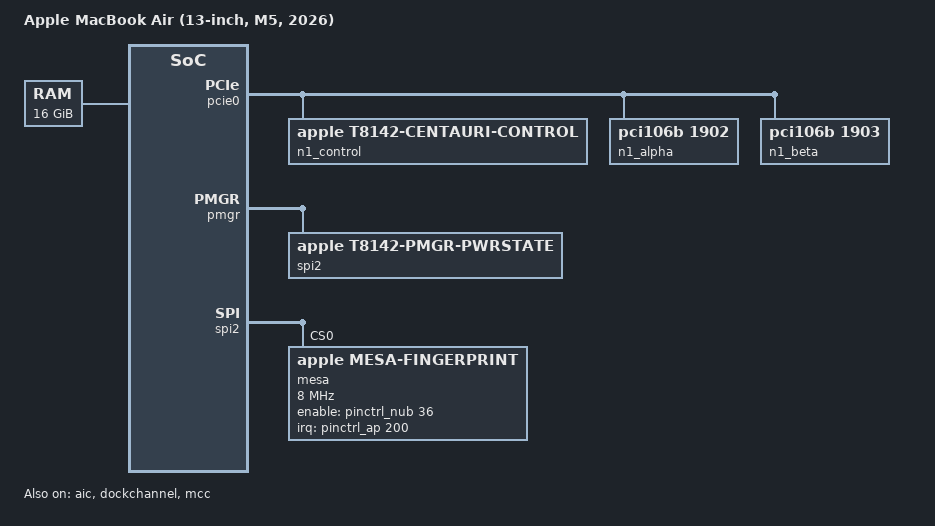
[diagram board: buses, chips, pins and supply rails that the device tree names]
// SPDX-License-Identifier: GPL-2.0+ OR MIT
/*
 * Apple MacBook Air (13-inch, M5, 2026), J813.
 *
 * Initial RAM boot resources measured from the J813 Apple Device Tree.
 * The loader supplies usable memory, CPU release addresses and framebuffer
 * geometry. Peripheral power management is left with the boot firmware.
 */
/dts-v1/;

#include "t8142.dtsi"
#include <dt-bindings/thermal/thermal.h>

/ {
	compatible = "apple,j813", "apple,t8142", "apple,arm-platform";
	model = "Apple MacBook Air (13-inch, M5, 2026)";
	chassis-type = "laptop";

	aliases {
		serial0 = &dockchannel;
		serial1 = &serial0;
		/* The name loaders before aurora-silicon/aura#165 look up. */
		disp0_piodma = &disp0_piodma;
	};

	chosen {
		#address-cells = <2>;
		#size-cells = <2>;
		ranges;

		stdout-path = "serial0:1500000n8";

		framebuffer0: framebuffer@0 {
			compatible = "apple,simple-framebuffer", "simple-framebuffer";
			reg = <0 0 0 0>; /* Filled by the loader. */
			status = "disabled";
		};
	};

	memory@10000000000 {
		reg = <0x100 0 0x4 0>; /* Filled by the loader. */
	};
};

&cpu0 {
	operating-points-v2 = <&ecluster_opp>;
	performance-domains = <&cpufreq_e>;
	status = "okay";
};

&cpu1 {
	operating-points-v2 = <&ecluster_opp>;
	performance-domains = <&cpufreq_e>;
	status = "okay";
};

&cpu2 {
	operating-points-v2 = <&ecluster_opp>;
	performance-domains = <&cpufreq_e>;
	status = "okay";
};

&cpu3 {
	operating-points-v2 = <&ecluster_opp>;
	performance-domains = <&cpufreq_e>;
	status = "okay";
};

&cpu4 {
	operating-points-v2 = <&ecluster_opp>;
	performance-domains = <&cpufreq_e>;
	status = "okay";
};

&cpu5 {
	operating-points-v2 = <&ecluster_opp>;
	performance-domains = <&cpufreq_e>;
	status = "okay";
};

&cpu6 {
	operating-points-v2 = <&pcluster_opp>;
	performance-domains = <&cpufreq_p>;
	status = "okay";
};

&cpu7 {
	operating-points-v2 = <&pcluster_opp>;
	performance-domains = <&cpufreq_p>;
	status = "okay";
};

&cpu8 {
	operating-points-v2 = <&pcluster_opp>;
	performance-domains = <&cpufreq_p>;
	status = "okay";
};

&cpu9 {
	operating-points-v2 = <&pcluster_opp>;
	performance-domains = <&cpufreq_p>;
	status = "okay";
};

&{/timer} {
	status = "okay";
};

&aic {
	status = "okay";
};

&dockchannel {
	status = "okay";
};

#include "t8142-j813-display.dtsi"
#include "t8142-j813-gpu.dtsi"
#include "t8142-j813-peripherals.dtsi"
#include "t8142-j813-j815.dtsi"
#include "t8142-j813-usb.dtsi"
#include "t8142-j813-avd.dtsi"
#include "t8142-j813-isp.dtsi"
#include "t8142-j813-n1.dtsi"
#include "t8142-j813-audio.dtsi"
#include "t8142-hwmon.dtsi"

/*
 * N1 functions behind apcie port 0 (0000:00:00.0 -> 01:00.{0,1,2}), so the
 * loader has somewhere to put the factory addresses: it copies ADT /chosen
 * mac-address-wifi0 and mac-address-bluetooth0 into the wifi0/bluetooth0
 * alias targets. Same nodes as t8142-j815.dts (same N1, same PCI IDs).
 */
/ {
	aliases {
		wifi0 = &n1_alpha;
		bluetooth0 = &n1_beta;
	};
};

&pcie0 {
	n1_port: pci@0,0 {
		device_type = "pci";
		reg = <0x0 0x0 0x0 0x0 0x0>;
		bus-range = <1 1>;
		#address-cells = <3>;
		#size-cells = <2>;
		ranges;
		/*
		 * The N1's warm reset: the ADT's pci-bridge0 function-warm_reset (the SMC, key
		 * 'bpli', the same key and argument as on the T6050 boards) and the T6050 writes.
		 * The N1 driver restarts a stopped firmware with it.
		 */
		apple,function-warm-reset = <&smc 0x62706c69 0x1000000>;
		apple,warm-reset-writes = <0x00010001 17000>, <0x00010001 20000>;

		n1_control: control@0,0 {
			compatible = "apple,t8142-centauri-control", "pci106b,1900";
			reg = <0x10000 0x0 0x0 0x0 0x0>;
		};

		n1_alpha: wifi@0,1 {
			compatible = "pci106b,1902";
			reg = <0x10100 0x0 0x0 0x0 0x0>;
			/* Filled by the loader */
			local-mac-address = [00 00 00 00 00 00];
		};

		n1_beta: bluetooth@0,2 {
			compatible = "pci106b,1903";
			reg = <0x10200 0x0 0x0 0x0 0x0>;
			/* Filled by the loader */
			local-bd-address = [00 00 00 00 00 00];
		};
	};
};

&mtp_hid {
	multi-touch {
		firmware-name = "apple/tpmtfw-j813.bin";
		/* Palm classes flicker onto fingers for single reports. */
		apple,palm-debounce;
		/* The same touch states and path IDs as the J815's pad. */
		apple,touch-states;
	};
};

/* Unexposed chassis port instances remain described and disabled. */

/*
 * aura (mcc_init_m5) turns the system level cache on; the driver confirms it
 * and flushes on shutdown.
 */
&mcc {
	status = "okay";
};

#include "t8142-j813-sep.dtsi"
#include "t8142-j813-j815-sleep.dtsi"

#include "t8142-j813-dcpext.dtsi"

&{/reserved-memory} {
	/*
	 * Both roles' __TEXT, contiguous (ADT gfx-asc and gfx1-asc segment-ranges),
	 * which the driver identifies before it starts the firmware. Fixed at the
	 * macOS 27.0 address like fw-data, until the bootloader fills it in; under
	 * 27.2 (26B123) iBoot loads it at 0x100_00e5_4000 and the DATA at
	 * 0x100_0245_8000.
	 */
	gpu_fw_text: fw-text {
		reg = <0x100 0x00e44000 0x0 0x9c000>;
		no-map;
	};
};

&gpu {
	memory-region = <&uat_ttbs>, <&uat_pagetables>, <&uat_handoff>,
			<&uat_l2_pagetables>, <&gfx_data>, <&gfx1_data>,
			<&gpu_fw_data>, <&gpu_fw_text>;
	memory-region-names = "ttbs", "pagetables", "handoff",
			      "shared-l2", "gfx-data", "gfx1-data", "fw-data",
			      "fw-text";
};

/* Touch ID uses SPI2, with power on NUB GPIO 36 and data ready on AP GPIO 200. */
&pmgr {
	ps_spi2: power-controller@440 {
		compatible = "apple,t8142-pmgr-pwrstate", "apple,t8103-pmgr-pwrstate";
		reg = <0x440 4>;
		#power-domain-cells = <0>;
		#reset-cells = <0>;
		power-domains = <&ps_spi_p>;
		label = "spi2";
	};
};

&{/soc} {
	spi2: spi@3a5108000 {
		compatible = "apple,t8142-spi", "apple,t8103-spi";
		reg = <0x3 0xa5108000 0x0 0x4000>;
		interrupt-parent = <&aic>;
		interrupts = <AIC_IRQ 1241 IRQ_TYPE_LEVEL_HIGH>;
		clocks = <&clkref>;
		power-domains = <&ps_spi2>;
		#address-cells = <1>;
		#size-cells = <0>;
		status = "okay";

		mesa: fingerprint@0 {
			compatible = "apple,mesa-fingerprint";
			reg = <0>;
			spi-max-frequency = <8000000>;
			spi-cpol;
			spi-cs-setup-delay-ns = <20>;
			spi-cs-hold-delay-ns = <20>;
			enable-gpios = <&pinctrl_nub 36 GPIO_ACTIVE_HIGH>;
			interrupt-parent = <&pinctrl_ap>;
			interrupts = <200 IRQ_TYPE_EDGE_RISING>;
			/* Per-device files, built from the Mac's own factory records. */
			firmware-name = "apple/mesacal-j813.bin", "apple/msrk-j813.bin";
			status = "okay";
		};
	};
};

/* Expose the sensor's two pins next to the ones sound uses. */
&pinctrl_ap {
	gpio-reserved-ranges = <0 100>, <101 49>, <152 48>, <201 23>;
};

&pinctrl_nub {
	gpio-reserved-ranges = <0 18>, <19 17>, <37 3>;
};

/* The port controllers follow the sleep's command rules (tipd: woken first, read at intervals) */
&hpm0 {
	apple,sleep-ssps-rules;
};

&hpm1 {
	apple,sleep-ssps-rules;
};

&smc_hwmon {
	#thermal-sensor-cells = <1>;
};

/ {
	/*
	 * Fanless: the CPUs are the only cooling devices, and both clusters
	 * share one die and one passive heat spreader. The PMP's fast
	 * die-temperature loop (apple,fast-die-effort) is the primary control:
	 * on J813, an all-core load holds the hottest SMC die sensor (Tp04)
	 * at 102.3-102.5 C while leaving the E cluster at 2.96 GHz and tapering
	 * the P cluster from 4.46 to 3.88-4.02 GHz as the chassis warms
	 * (13.2 W combined CPU rail power after 330 s).
	 *
	 * These per-sensor zones sit behind the PMP as a slow outer backstop
	 * and critical shutdown guard. The control (110 C) and critical
	 * (125 C, after three samples) trips come from the J813 ADT's PMP
	 * temp-sensor table, which gives every CPU die sensor a 110 C target
	 * and a 125 C maximum (sochot). A 95 C switch-on (15 C gap, 13 W
	 * measured sustainable power, 20 s integral time constant) keeps the
	 * power budget above the full-speed energy-model request (24.1 W) up to
	 * 103.6 C so cooling devices stay at state 0 throughout cold-start ramp
	 * and steady state under normal PMP operation (Tp04 <= 102.5 C), while
	 * regulating smoothly if PMP does not hold the die (k_po 887, k_pu 1774,
	 * k_i 88; a 4-7 C gap oscillated). The E cluster is weighted 3:1 over P
	 * and capped at state 5 (1152 MHz, more efficient per MHz than 300 MHz and
	 * above idle wake latency).
	 *
	 * Sensor indices count temperature-* children across hwmon-common
	 * (0: TH0x), hwmon-laptop (1-3: TB0T, TCHP, TW0P) and t8142-hwmon
	 * (4-7: Te04..Te0R, 8-21: Tp00..Tp1E).
	 */
	thermal-zones {
		cpu-e0-thermal {
			polling-delay-passive = <1000>;
			polling-delay = <1000>;
			integral-time-constant-ms = <20000>;
			critical-samples = <3>;
			thermal-sensors = <&smc_hwmon 4>;	/* Te04 */
			sustainable-power = <13000>;

			trips {
				cpu_e0_switch_on: trip-switch-on {
					temperature = <95000>;
					hysteresis = <2000>;
					type = "passive";
				};

				cpu_e0_passive: trip-passive {
					temperature = <110000>;
					hysteresis = <2000>;
					type = "passive";
				};

				trip-critical {
					temperature = <125000>;
					hysteresis = <0>;
					type = "critical";
				};
			};

			cooling-maps {
				map0 {
					trip = <&cpu_e0_passive>;
					cooling-device =
						<&cpu6 THERMAL_NO_LIMIT THERMAL_NO_LIMIT>,
						<&cpu7 THERMAL_NO_LIMIT THERMAL_NO_LIMIT>,
						<&cpu8 THERMAL_NO_LIMIT THERMAL_NO_LIMIT>,
						<&cpu9 THERMAL_NO_LIMIT THERMAL_NO_LIMIT>;
					contribution = <1024>;
				};

				map1 {
					trip = <&cpu_e0_passive>;
					cooling-device =
						<&cpu0 THERMAL_NO_LIMIT 5>,
						<&cpu1 THERMAL_NO_LIMIT 5>,
						<&cpu2 THERMAL_NO_LIMIT 5>,
						<&cpu3 THERMAL_NO_LIMIT 5>,
						<&cpu4 THERMAL_NO_LIMIT 5>,
						<&cpu5 THERMAL_NO_LIMIT 5>;
					contribution = <3072>;
				};
			};
		};

		cpu-e1-thermal {
			polling-delay-passive = <1000>;
			polling-delay = <1000>;
			integral-time-constant-ms = <20000>;
			critical-samples = <3>;
			thermal-sensors = <&smc_hwmon 5>;	/* Te08 */
			sustainable-power = <13000>;

			trips {
				cpu_e1_switch_on: trip-switch-on {
					temperature = <95000>;
					hysteresis = <2000>;
					type = "passive";
				};

				cpu_e1_passive: trip-passive {
					temperature = <110000>;
					hysteresis = <2000>;
					type = "passive";
				};

				trip-critical {
					temperature = <125000>;
					hysteresis = <0>;
					type = "critical";
				};
			};

			cooling-maps {
				map0 {
					trip = <&cpu_e1_passive>;
					cooling-device =
						<&cpu6 THERMAL_NO_LIMIT THERMAL_NO_LIMIT>,
						<&cpu7 THERMAL_NO_LIMIT THERMAL_NO_LIMIT>,
						<&cpu8 THERMAL_NO_LIMIT THERMAL_NO_LIMIT>,
						<&cpu9 THERMAL_NO_LIMIT THERMAL_NO_LIMIT>;
					contribution = <1024>;
				};

				map1 {
					trip = <&cpu_e1_passive>;
					cooling-device =
						<&cpu0 THERMAL_NO_LIMIT 5>,
						<&cpu1 THERMAL_NO_LIMIT 5>,
						<&cpu2 THERMAL_NO_LIMIT 5>,
						<&cpu3 THERMAL_NO_LIMIT 5>,
						<&cpu4 THERMAL_NO_LIMIT 5>,
						<&cpu5 THERMAL_NO_LIMIT 5>;
					contribution = <3072>;
				};
			};
		};

		cpu-e2-thermal {
			polling-delay-passive = <1000>;
			polling-delay = <1000>;
			integral-time-constant-ms = <20000>;
			critical-samples = <3>;
			thermal-sensors = <&smc_hwmon 6>;	/* Te0C */
			sustainable-power = <13000>;

			trips {
				cpu_e2_switch_on: trip-switch-on {
					temperature = <95000>;
					hysteresis = <2000>;
					type = "passive";
				};

				cpu_e2_passive: trip-passive {
					temperature = <110000>;
					hysteresis = <2000>;
					type = "passive";
				};

				trip-critical {
					temperature = <125000>;
					hysteresis = <0>;
					type = "critical";
				};
			};

			cooling-maps {
				map0 {
					trip = <&cpu_e2_passive>;
					cooling-device =
						<&cpu6 THERMAL_NO_LIMIT THERMAL_NO_LIMIT>,
						<&cpu7 THERMAL_NO_LIMIT THERMAL_NO_LIMIT>,
						<&cpu8 THERMAL_NO_LIMIT THERMAL_NO_LIMIT>,
						<&cpu9 THERMAL_NO_LIMIT THERMAL_NO_LIMIT>;
					contribution = <1024>;
				};

				map1 {
					trip = <&cpu_e2_passive>;
					cooling-device =
						<&cpu0 THERMAL_NO_LIMIT 5>,
						<&cpu1 THERMAL_NO_LIMIT 5>,
						<&cpu2 THERMAL_NO_LIMIT 5>,
						<&cpu3 THERMAL_NO_LIMIT 5>,
						<&cpu4 THERMAL_NO_LIMIT 5>,
						<&cpu5 THERMAL_NO_LIMIT 5>;
					contribution = <3072>;
				};
			};
		};

		cpu-e3-thermal {
			polling-delay-passive = <1000>;
			polling-delay = <1000>;
			integral-time-constant-ms = <20000>;
			critical-samples = <3>;
			thermal-sensors = <&smc_hwmon 7>;	/* Te0R */
			sustainable-power = <13000>;

			trips {
				cpu_e3_switch_on: trip-switch-on {
					temperature = <95000>;
					hysteresis = <2000>;
					type = "passive";
				};

				cpu_e3_passive: trip-passive {
					temperature = <110000>;
					hysteresis = <2000>;
					type = "passive";
				};

				trip-critical {
					temperature = <125000>;
					hysteresis = <0>;
					type = "critical";
				};
			};

			cooling-maps {
				map0 {
					trip = <&cpu_e3_passive>;
					cooling-device =
						<&cpu6 THERMAL_NO_LIMIT THERMAL_NO_LIMIT>,
						<&cpu7 THERMAL_NO_LIMIT THERMAL_NO_LIMIT>,
						<&cpu8 THERMAL_NO_LIMIT THERMAL_NO_LIMIT>,
						<&cpu9 THERMAL_NO_LIMIT THERMAL_NO_LIMIT>;
					contribution = <1024>;
				};

				map1 {
					trip = <&cpu_e3_passive>;
					cooling-device =
						<&cpu0 THERMAL_NO_LIMIT 5>,
						<&cpu1 THERMAL_NO_LIMIT 5>,
						<&cpu2 THERMAL_NO_LIMIT 5>,
						<&cpu3 THERMAL_NO_LIMIT 5>,
						<&cpu4 THERMAL_NO_LIMIT 5>,
						<&cpu5 THERMAL_NO_LIMIT 5>;
					contribution = <3072>;
				};
			};
		};

		cpu-p0-thermal {
			polling-delay-passive = <1000>;
			polling-delay = <1000>;
			integral-time-constant-ms = <20000>;
			critical-samples = <3>;
			thermal-sensors = <&smc_hwmon 8>;	/* Tp00 */
			sustainable-power = <13000>;

			trips {
				cpu_p0_switch_on: trip-switch-on {
					temperature = <95000>;
					hysteresis = <2000>;
					type = "passive";
				};

				cpu_p0_passive: trip-passive {
					temperature = <110000>;
					hysteresis = <2000>;
					type = "passive";
				};

				trip-critical {
					temperature = <125000>;
					hysteresis = <0>;
					type = "critical";
				};
			};

			cooling-maps {
				map0 {
					trip = <&cpu_p0_passive>;
					cooling-device =
						<&cpu6 THERMAL_NO_LIMIT THERMAL_NO_LIMIT>,
						<&cpu7 THERMAL_NO_LIMIT THERMAL_NO_LIMIT>,
						<&cpu8 THERMAL_NO_LIMIT THERMAL_NO_LIMIT>,
						<&cpu9 THERMAL_NO_LIMIT THERMAL_NO_LIMIT>;
					contribution = <1024>;
				};

				map1 {
					trip = <&cpu_p0_passive>;
					cooling-device =
						<&cpu0 THERMAL_NO_LIMIT 5>,
						<&cpu1 THERMAL_NO_LIMIT 5>,
						<&cpu2 THERMAL_NO_LIMIT 5>,
						<&cpu3 THERMAL_NO_LIMIT 5>,
						<&cpu4 THERMAL_NO_LIMIT 5>,
						<&cpu5 THERMAL_NO_LIMIT 5>;
					contribution = <3072>;
				};
			};
		};

		cpu-p1-thermal {
			polling-delay-passive = <1000>;
			polling-delay = <1000>;
			integral-time-constant-ms = <20000>;
			critical-samples = <3>;
			thermal-sensors = <&smc_hwmon 9>;	/* Tp04 */
			sustainable-power = <13000>;

			trips {
				cpu_p1_switch_on: trip-switch-on {
					temperature = <95000>;
					hysteresis = <2000>;
					type = "passive";
				};

				cpu_p1_passive: trip-passive {
					temperature = <110000>;
					hysteresis = <2000>;
					type = "passive";
				};

				trip-critical {
					temperature = <125000>;
					hysteresis = <0>;
					type = "critical";
				};
			};

			cooling-maps {
				map0 {
					trip = <&cpu_p1_passive>;
					cooling-device =
						<&cpu6 THERMAL_NO_LIMIT THERMAL_NO_LIMIT>,
						<&cpu7 THERMAL_NO_LIMIT THERMAL_NO_LIMIT>,
						<&cpu8 THERMAL_NO_LIMIT THERMAL_NO_LIMIT>,
						<&cpu9 THERMAL_NO_LIMIT THERMAL_NO_LIMIT>;
					contribution = <1024>;
				};

				map1 {
					trip = <&cpu_p1_passive>;
					cooling-device =
						<&cpu0 THERMAL_NO_LIMIT 5>,
						<&cpu1 THERMAL_NO_LIMIT 5>,
						<&cpu2 THERMAL_NO_LIMIT 5>,
						<&cpu3 THERMAL_NO_LIMIT 5>,
						<&cpu4 THERMAL_NO_LIMIT 5>,
						<&cpu5 THERMAL_NO_LIMIT 5>;
					contribution = <3072>;
				};
			};
		};

		cpu-p2-thermal {
			polling-delay-passive = <1000>;
			polling-delay = <1000>;
			integral-time-constant-ms = <20000>;
			critical-samples = <3>;
			thermal-sensors = <&smc_hwmon 10>;	/* Tp0C */
			sustainable-power = <13000>;

			trips {
				cpu_p2_switch_on: trip-switch-on {
					temperature = <95000>;
					hysteresis = <2000>;
					type = "passive";
				};

				cpu_p2_passive: trip-passive {
					temperature = <110000>;
					hysteresis = <2000>;
					type = "passive";
				};

				trip-critical {
					temperature = <125000>;
					hysteresis = <0>;
					type = "critical";
				};
			};

			cooling-maps {
				map0 {
					trip = <&cpu_p2_passive>;
					cooling-device =
						<&cpu6 THERMAL_NO_LIMIT THERMAL_NO_LIMIT>,
						<&cpu7 THERMAL_NO_LIMIT THERMAL_NO_LIMIT>,
						<&cpu8 THERMAL_NO_LIMIT THERMAL_NO_LIMIT>,
						<&cpu9 THERMAL_NO_LIMIT THERMAL_NO_LIMIT>;
					contribution = <1024>;
				};

				map1 {
					trip = <&cpu_p2_passive>;
					cooling-device =
						<&cpu0 THERMAL_NO_LIMIT 5>,
						<&cpu1 THERMAL_NO_LIMIT 5>,
						<&cpu2 THERMAL_NO_LIMIT 5>,
						<&cpu3 THERMAL_NO_LIMIT 5>,
						<&cpu4 THERMAL_NO_LIMIT 5>,
						<&cpu5 THERMAL_NO_LIMIT 5>;
					contribution = <3072>;
				};
			};
		};

		cpu-p3-thermal {
			polling-delay-passive = <1000>;
			polling-delay = <1000>;
			integral-time-constant-ms = <20000>;
			critical-samples = <3>;
			thermal-sensors = <&smc_hwmon 11>;	/* Tp0G */
			sustainable-power = <13000>;

			trips {
				cpu_p3_switch_on: trip-switch-on {
					temperature = <95000>;
					hysteresis = <2000>;
					type = "passive";
				};

				cpu_p3_passive: trip-passive {
					temperature = <110000>;
					hysteresis = <2000>;
					type = "passive";
				};

				trip-critical {
					temperature = <125000>;
					hysteresis = <0>;
					type = "critical";
				};
			};

			cooling-maps {
				map0 {
					trip = <&cpu_p3_passive>;
					cooling-device =
						<&cpu6 THERMAL_NO_LIMIT THERMAL_NO_LIMIT>,
						<&cpu7 THERMAL_NO_LIMIT THERMAL_NO_LIMIT>,
						<&cpu8 THERMAL_NO_LIMIT THERMAL_NO_LIMIT>,
						<&cpu9 THERMAL_NO_LIMIT THERMAL_NO_LIMIT>;
					contribution = <1024>;
				};

				map1 {
					trip = <&cpu_p3_passive>;
					cooling-device =
						<&cpu0 THERMAL_NO_LIMIT 5>,
						<&cpu1 THERMAL_NO_LIMIT 5>,
						<&cpu2 THERMAL_NO_LIMIT 5>,
						<&cpu3 THERMAL_NO_LIMIT 5>,
						<&cpu4 THERMAL_NO_LIMIT 5>,
						<&cpu5 THERMAL_NO_LIMIT 5>;
					contribution = <3072>;
				};
			};
		};

		cpu-p4-thermal {
			polling-delay-passive = <1000>;
			polling-delay = <1000>;
			integral-time-constant-ms = <20000>;
			critical-samples = <3>;
			thermal-sensors = <&smc_hwmon 12>;	/* Tp0O */
			sustainable-power = <13000>;

			trips {
				cpu_p4_switch_on: trip-switch-on {
					temperature = <95000>;
					hysteresis = <2000>;
					type = "passive";
				};

				cpu_p4_passive: trip-passive {
					temperature = <110000>;
					hysteresis = <2000>;
					type = "passive";
				};

				trip-critical {
					temperature = <125000>;
					hysteresis = <0>;
					type = "critical";
				};
			};

			cooling-maps {
				map0 {
					trip = <&cpu_p4_passive>;
					cooling-device =
						<&cpu6 THERMAL_NO_LIMIT THERMAL_NO_LIMIT>,
						<&cpu7 THERMAL_NO_LIMIT THERMAL_NO_LIMIT>,
						<&cpu8 THERMAL_NO_LIMIT THERMAL_NO_LIMIT>,
						<&cpu9 THERMAL_NO_LIMIT THERMAL_NO_LIMIT>;
					contribution = <1024>;
				};

				map1 {
					trip = <&cpu_p4_passive>;
					cooling-device =
						<&cpu0 THERMAL_NO_LIMIT 5>,
						<&cpu1 THERMAL_NO_LIMIT 5>,
						<&cpu2 THERMAL_NO_LIMIT 5>,
						<&cpu3 THERMAL_NO_LIMIT 5>,
						<&cpu4 THERMAL_NO_LIMIT 5>,
						<&cpu5 THERMAL_NO_LIMIT 5>;
					contribution = <3072>;
				};
			};
		};

		cpu-p5-thermal {
			polling-delay-passive = <1000>;
			polling-delay = <1000>;
			integral-time-constant-ms = <20000>;
			critical-samples = <3>;
			thermal-sensors = <&smc_hwmon 13>;	/* Tp0R */
			sustainable-power = <13000>;

			trips {
				cpu_p5_switch_on: trip-switch-on {
					temperature = <95000>;
					hysteresis = <2000>;
					type = "passive";
				};

				cpu_p5_passive: trip-passive {
					temperature = <110000>;
					hysteresis = <2000>;
					type = "passive";
				};

				trip-critical {
					temperature = <125000>;
					hysteresis = <0>;
					type = "critical";
				};
			};

			cooling-maps {
				map0 {
					trip = <&cpu_p5_passive>;
					cooling-device =
						<&cpu6 THERMAL_NO_LIMIT THERMAL_NO_LIMIT>,
						<&cpu7 THERMAL_NO_LIMIT THERMAL_NO_LIMIT>,
						<&cpu8 THERMAL_NO_LIMIT THERMAL_NO_LIMIT>,
						<&cpu9 THERMAL_NO_LIMIT THERMAL_NO_LIMIT>;
					contribution = <1024>;
				};

				map1 {
					trip = <&cpu_p5_passive>;
					cooling-device =
						<&cpu0 THERMAL_NO_LIMIT 5>,
						<&cpu1 THERMAL_NO_LIMIT 5>,
						<&cpu2 THERMAL_NO_LIMIT 5>,
						<&cpu3 THERMAL_NO_LIMIT 5>,
						<&cpu4 THERMAL_NO_LIMIT 5>,
						<&cpu5 THERMAL_NO_LIMIT 5>;
					contribution = <3072>;
				};
			};
		};

		cpu-p6-thermal {
			polling-delay-passive = <1000>;
			polling-delay = <1000>;
			integral-time-constant-ms = <20000>;
			critical-samples = <3>;
			thermal-sensors = <&smc_hwmon 14>;	/* Tp0X */
			sustainable-power = <13000>;

			trips {
				cpu_p6_switch_on: trip-switch-on {
					temperature = <95000>;
					hysteresis = <2000>;
					type = "passive";
				};

				cpu_p6_passive: trip-passive {
					temperature = <110000>;
					hysteresis = <2000>;
					type = "passive";
				};

				trip-critical {
					temperature = <125000>;
					hysteresis = <0>;
					type = "critical";
				};
			};

			cooling-maps {
				map0 {
					trip = <&cpu_p6_passive>;
					cooling-device =
						<&cpu6 THERMAL_NO_LIMIT THERMAL_NO_LIMIT>,
						<&cpu7 THERMAL_NO_LIMIT THERMAL_NO_LIMIT>,
						<&cpu8 THERMAL_NO_LIMIT THERMAL_NO_LIMIT>,
						<&cpu9 THERMAL_NO_LIMIT THERMAL_NO_LIMIT>;
					contribution = <1024>;
				};

				map1 {
					trip = <&cpu_p6_passive>;
					cooling-device =
						<&cpu0 THERMAL_NO_LIMIT 5>,
						<&cpu1 THERMAL_NO_LIMIT 5>,
						<&cpu2 THERMAL_NO_LIMIT 5>,
						<&cpu3 THERMAL_NO_LIMIT 5>,
						<&cpu4 THERMAL_NO_LIMIT 5>,
						<&cpu5 THERMAL_NO_LIMIT 5>;
					contribution = <3072>;
				};
			};
		};

		cpu-p7-thermal {
			polling-delay-passive = <1000>;
			polling-delay = <1000>;
			integral-time-constant-ms = <20000>;
			critical-samples = <3>;
			thermal-sensors = <&smc_hwmon 15>;	/* Tp0a */
			sustainable-power = <13000>;

			trips {
				cpu_p7_switch_on: trip-switch-on {
					temperature = <95000>;
					hysteresis = <2000>;
					type = "passive";
				};

				cpu_p7_passive: trip-passive {
					temperature = <110000>;
					hysteresis = <2000>;
					type = "passive";
				};

				trip-critical {
					temperature = <125000>;
					hysteresis = <0>;
					type = "critical";
				};
			};

			cooling-maps {
				map0 {
					trip = <&cpu_p7_passive>;
					cooling-device =
						<&cpu6 THERMAL_NO_LIMIT THERMAL_NO_LIMIT>,
						<&cpu7 THERMAL_NO_LIMIT THERMAL_NO_LIMIT>,
						<&cpu8 THERMAL_NO_LIMIT THERMAL_NO_LIMIT>,
						<&cpu9 THERMAL_NO_LIMIT THERMAL_NO_LIMIT>;
					contribution = <1024>;
				};

				map1 {
					trip = <&cpu_p7_passive>;
					cooling-device =
						<&cpu0 THERMAL_NO_LIMIT 5>,
						<&cpu1 THERMAL_NO_LIMIT 5>,
						<&cpu2 THERMAL_NO_LIMIT 5>,
						<&cpu3 THERMAL_NO_LIMIT 5>,
						<&cpu4 THERMAL_NO_LIMIT 5>,
						<&cpu5 THERMAL_NO_LIMIT 5>;
					contribution = <3072>;
				};
			};
		};

		cpu-p8-thermal {
			polling-delay-passive = <1000>;
			polling-delay = <1000>;
			integral-time-constant-ms = <20000>;
			critical-samples = <3>;
			thermal-sensors = <&smc_hwmon 16>;	/* Tp0p */
			sustainable-power = <13000>;

			trips {
				cpu_p8_switch_on: trip-switch-on {
					temperature = <95000>;
					hysteresis = <2000>;
					type = "passive";
				};

				cpu_p8_passive: trip-passive {
					temperature = <110000>;
					hysteresis = <2000>;
					type = "passive";
				};

				trip-critical {
					temperature = <125000>;
					hysteresis = <0>;
					type = "critical";
				};
			};

			cooling-maps {
				map0 {
					trip = <&cpu_p8_passive>;
					cooling-device =
						<&cpu6 THERMAL_NO_LIMIT THERMAL_NO_LIMIT>,
						<&cpu7 THERMAL_NO_LIMIT THERMAL_NO_LIMIT>,
						<&cpu8 THERMAL_NO_LIMIT THERMAL_NO_LIMIT>,
						<&cpu9 THERMAL_NO_LIMIT THERMAL_NO_LIMIT>;
					contribution = <1024>;
				};

				map1 {
					trip = <&cpu_p8_passive>;
					cooling-device =
						<&cpu0 THERMAL_NO_LIMIT 5>,
						<&cpu1 THERMAL_NO_LIMIT 5>,
						<&cpu2 THERMAL_NO_LIMIT 5>,
						<&cpu3 THERMAL_NO_LIMIT 5>,
						<&cpu4 THERMAL_NO_LIMIT 5>,
						<&cpu5 THERMAL_NO_LIMIT 5>;
					contribution = <3072>;
				};
			};
		};

		cpu-p9-thermal {
			polling-delay-passive = <1000>;
			polling-delay = <1000>;
			integral-time-constant-ms = <20000>;
			critical-samples = <3>;
			thermal-sensors = <&smc_hwmon 17>;	/* Tp0u */
			sustainable-power = <13000>;

			trips {
				cpu_p9_switch_on: trip-switch-on {
					temperature = <95000>;
					hysteresis = <2000>;
					type = "passive";
				};

				cpu_p9_passive: trip-passive {
					temperature = <110000>;
					hysteresis = <2000>;
					type = "passive";
				};

				trip-critical {
					temperature = <125000>;
					hysteresis = <0>;
					type = "critical";
				};
			};

			cooling-maps {
				map0 {
					trip = <&cpu_p9_passive>;
					cooling-device =
						<&cpu6 THERMAL_NO_LIMIT THERMAL_NO_LIMIT>,
						<&cpu7 THERMAL_NO_LIMIT THERMAL_NO_LIMIT>,
						<&cpu8 THERMAL_NO_LIMIT THERMAL_NO_LIMIT>,
						<&cpu9 THERMAL_NO_LIMIT THERMAL_NO_LIMIT>;
					contribution = <1024>;
				};

				map1 {
					trip = <&cpu_p9_passive>;
					cooling-device =
						<&cpu0 THERMAL_NO_LIMIT 5>,
						<&cpu1 THERMAL_NO_LIMIT 5>,
						<&cpu2 THERMAL_NO_LIMIT 5>,
						<&cpu3 THERMAL_NO_LIMIT 5>,
						<&cpu4 THERMAL_NO_LIMIT 5>,
						<&cpu5 THERMAL_NO_LIMIT 5>;
					contribution = <3072>;
				};
			};
		};

		cpu-p10-thermal {
			polling-delay-passive = <1000>;
			polling-delay = <1000>;
			integral-time-constant-ms = <20000>;
			critical-samples = <3>;
			thermal-sensors = <&smc_hwmon 18>;	/* Tp0y */
			sustainable-power = <13000>;

			trips {
				cpu_p10_switch_on: trip-switch-on {
					temperature = <95000>;
					hysteresis = <2000>;
					type = "passive";
				};

				cpu_p10_passive: trip-passive {
					temperature = <110000>;
					hysteresis = <2000>;
					type = "passive";
				};

				trip-critical {
					temperature = <125000>;
					hysteresis = <0>;
					type = "critical";
				};
			};

			cooling-maps {
				map0 {
					trip = <&cpu_p10_passive>;
					cooling-device =
						<&cpu6 THERMAL_NO_LIMIT THERMAL_NO_LIMIT>,
						<&cpu7 THERMAL_NO_LIMIT THERMAL_NO_LIMIT>,
						<&cpu8 THERMAL_NO_LIMIT THERMAL_NO_LIMIT>,
						<&cpu9 THERMAL_NO_LIMIT THERMAL_NO_LIMIT>;
					contribution = <1024>;
				};

				map1 {
					trip = <&cpu_p10_passive>;
					cooling-device =
						<&cpu0 THERMAL_NO_LIMIT 5>,
						<&cpu1 THERMAL_NO_LIMIT 5>,
						<&cpu2 THERMAL_NO_LIMIT 5>,
						<&cpu3 THERMAL_NO_LIMIT 5>,
						<&cpu4 THERMAL_NO_LIMIT 5>,
						<&cpu5 THERMAL_NO_LIMIT 5>;
					contribution = <3072>;
				};
			};
		};

		cpu-p11-thermal {
			polling-delay-passive = <1000>;
			polling-delay = <1000>;
			integral-time-constant-ms = <20000>;
			critical-samples = <3>;
			thermal-sensors = <&smc_hwmon 19>;	/* Tp12 */
			sustainable-power = <13000>;

			trips {
				cpu_p11_switch_on: trip-switch-on {
					temperature = <95000>;
					hysteresis = <2000>;
					type = "passive";
				};

				cpu_p11_passive: trip-passive {
					temperature = <110000>;
					hysteresis = <2000>;
					type = "passive";
				};

				trip-critical {
					temperature = <125000>;
					hysteresis = <0>;
					type = "critical";
				};
			};

			cooling-maps {
				map0 {
					trip = <&cpu_p11_passive>;
					cooling-device =
						<&cpu6 THERMAL_NO_LIMIT THERMAL_NO_LIMIT>,
						<&cpu7 THERMAL_NO_LIMIT THERMAL_NO_LIMIT>,
						<&cpu8 THERMAL_NO_LIMIT THERMAL_NO_LIMIT>,
						<&cpu9 THERMAL_NO_LIMIT THERMAL_NO_LIMIT>;
					contribution = <1024>;
				};

				map1 {
					trip = <&cpu_p11_passive>;
					cooling-device =
						<&cpu0 THERMAL_NO_LIMIT 5>,
						<&cpu1 THERMAL_NO_LIMIT 5>,
						<&cpu2 THERMAL_NO_LIMIT 5>,
						<&cpu3 THERMAL_NO_LIMIT 5>,
						<&cpu4 THERMAL_NO_LIMIT 5>,
						<&cpu5 THERMAL_NO_LIMIT 5>;
					contribution = <3072>;
				};
			};
		};

		cpu-p12-thermal {
			polling-delay-passive = <1000>;
			polling-delay = <1000>;
			integral-time-constant-ms = <20000>;
			critical-samples = <3>;
			thermal-sensors = <&smc_hwmon 20>;	/* Tp16 */
			sustainable-power = <13000>;

			trips {
				cpu_p12_switch_on: trip-switch-on {
					temperature = <95000>;
					hysteresis = <2000>;
					type = "passive";
				};

				cpu_p12_passive: trip-passive {
					temperature = <110000>;
					hysteresis = <2000>;
					type = "passive";
				};

				trip-critical {
					temperature = <125000>;
					hysteresis = <0>;
					type = "critical";
				};
			};

			cooling-maps {
				map0 {
					trip = <&cpu_p12_passive>;
					cooling-device =
						<&cpu6 THERMAL_NO_LIMIT THERMAL_NO_LIMIT>,
						<&cpu7 THERMAL_NO_LIMIT THERMAL_NO_LIMIT>,
						<&cpu8 THERMAL_NO_LIMIT THERMAL_NO_LIMIT>,
						<&cpu9 THERMAL_NO_LIMIT THERMAL_NO_LIMIT>;
					contribution = <1024>;
				};

				map1 {
					trip = <&cpu_p12_passive>;
					cooling-device =
						<&cpu0 THERMAL_NO_LIMIT 5>,
						<&cpu1 THERMAL_NO_LIMIT 5>,
						<&cpu2 THERMAL_NO_LIMIT 5>,
						<&cpu3 THERMAL_NO_LIMIT 5>,
						<&cpu4 THERMAL_NO_LIMIT 5>,
						<&cpu5 THERMAL_NO_LIMIT 5>;
					contribution = <3072>;
				};
			};
		};

		cpu-p13-thermal {
			polling-delay-passive = <1000>;
			polling-delay = <1000>;
			integral-time-constant-ms = <20000>;
			critical-samples = <3>;
			thermal-sensors = <&smc_hwmon 21>;	/* Tp1E */
			sustainable-power = <13000>;

			trips {
				cpu_p13_switch_on: trip-switch-on {
					temperature = <95000>;
					hysteresis = <2000>;
					type = "passive";
				};

				cpu_p13_passive: trip-passive {
					temperature = <110000>;
					hysteresis = <2000>;
					type = "passive";
				};

				trip-critical {
					temperature = <125000>;
					hysteresis = <0>;
					type = "critical";
				};
			};

			cooling-maps {
				map0 {
					trip = <&cpu_p13_passive>;
					cooling-device =
						<&cpu6 THERMAL_NO_LIMIT THERMAL_NO_LIMIT>,
						<&cpu7 THERMAL_NO_LIMIT THERMAL_NO_LIMIT>,
						<&cpu8 THERMAL_NO_LIMIT THERMAL_NO_LIMIT>,
						<&cpu9 THERMAL_NO_LIMIT THERMAL_NO_LIMIT>;
					contribution = <1024>;
				};

				map1 {
					trip = <&cpu_p13_passive>;
					cooling-device =
						<&cpu0 THERMAL_NO_LIMIT 5>,
						<&cpu1 THERMAL_NO_LIMIT 5>,
						<&cpu2 THERMAL_NO_LIMIT 5>,
						<&cpu3 THERMAL_NO_LIMIT 5>,
						<&cpu4 THERMAL_NO_LIMIT 5>,
						<&cpu5 THERMAL_NO_LIMIT 5>;
					contribution = <3072>;
				};
			};
		};
	};
};

#include "t8142-j813-usb4.dtsi"
